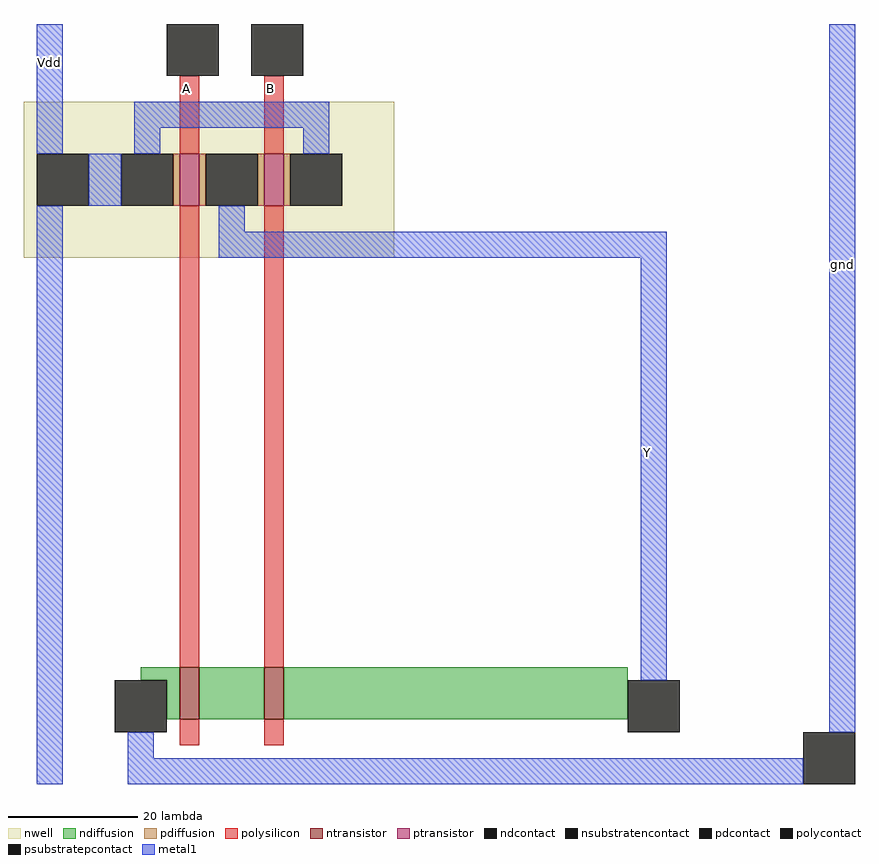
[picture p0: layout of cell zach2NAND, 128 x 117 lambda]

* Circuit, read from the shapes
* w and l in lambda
.subckt zach2NAND A B Vdd Y gnd
M1 n1 A gnd gnd nfet w=8 l=3
M2 Y B n1 gnd nfet w=8 l=3
M3 Y A Vdd Vdd pfet w=8 l=3
M4 Vdd B Y Vdd pfet w=8 l=3
.ends

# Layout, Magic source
magic
tech tsmc
<< nwell >>
rect -18 -8 39 16
<< ntransistor >>
rect 6 -79 9 -71
rect 19 -79 22 -71
<< ptransistor >>
rect 6 0 9 8
rect 19 0 22 8
<< ndiffusion >>
rect 0 -73 6 -71
rect 4 -79 6 -73
rect 9 -79 19 -71
rect 22 -79 75 -71
<< pdiffusion >>
rect 5 0 6 8
rect 9 0 10 8
rect 18 0 19 8
rect 22 0 23 8
<< ndcontact >>
rect -4 -81 4 -73
rect 75 -81 83 -73
<< pdcontact >>
rect -3 0 5 8
rect 10 0 18 8
rect 23 0 31 8
<< psubstratepcontact >>
rect 102 -89 110 -81
<< nsubstratencontact >>
rect -16 0 -8 8
<< polysilicon >>
rect 6 8 9 20
rect 19 8 22 20
rect 6 -71 9 0
rect 19 -71 22 0
rect 6 -83 9 -79
rect 19 -83 22 -79
<< polycontact >>
rect 4 20 12 28
rect 17 20 25 28
<< metal1 >>
rect -16 8 -12 28
rect -1 12 29 16
rect -1 8 3 12
rect 25 8 29 12
rect -8 0 -3 8
rect -16 -89 -12 0
rect 12 -4 16 0
rect 12 -8 81 -4
rect 77 -73 81 -8
rect 106 -81 110 28
rect -2 -85 2 -81
rect -2 -89 102 -85
<< labels >>
rlabel metal1 -14 22 -14 22 3 Vdd
rlabel metal1 108 -9 108 -9 7 gnd
rlabel metal1 78 -38 78 -38 1 Y
rlabel polysilicon 7 18 7 18 1 A
rlabel polysilicon 20 18 20 18 1 B
<< end >>
